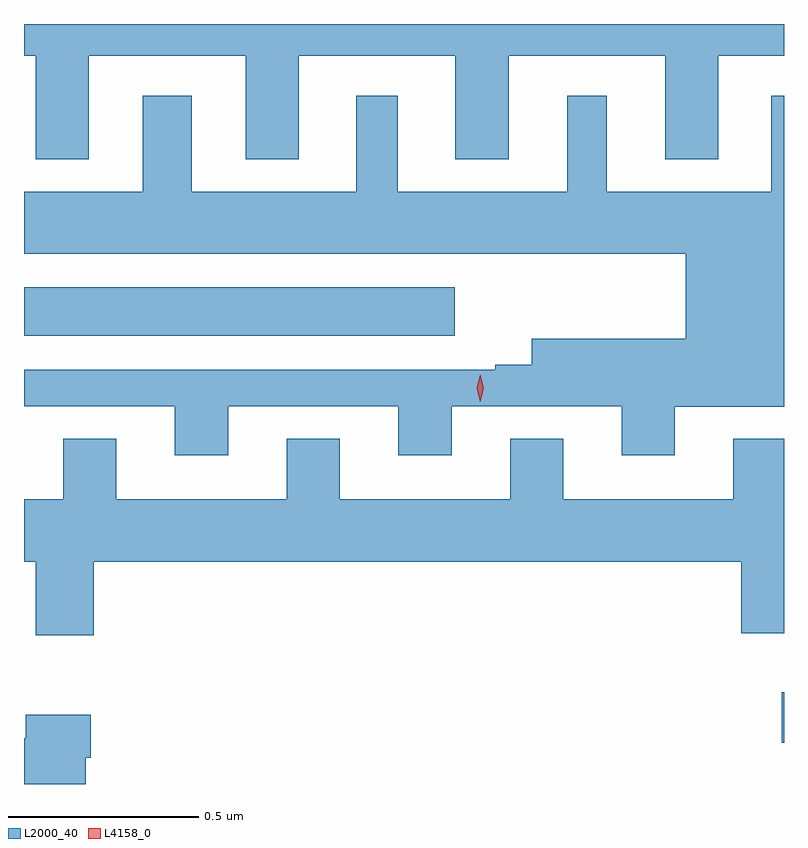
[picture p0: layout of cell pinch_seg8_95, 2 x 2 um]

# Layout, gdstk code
import gdstk
lib = gdstk.Library(unit=1e-6, precision=1e-09)
def R(c, l, rs):  # rectangles x0, y0, x1, y1
    for r in rs: c.add(gdstk.rectangle(r[:2], r[2:], *l))
def P(c, l, *ps):  # polygons
    for p in ps: c.add(gdstk.Polygon(p, *l))
L2000_40 = (2000, 40)
L4158_0 = (4158, 0)

pinch_seg8_95 = lib.new_cell('pinch_seg8_95')
R(pinch_seg8_95, L2000_40, [(1076.202,1101.371,1076.208,1101.505), (1074.208,1102.442,1075.342,1102.57)])
P(pinch_seg8_95, L2000_40, [(1074.379,1103.18),(1074.791,1103.18),(1074.791,1102.907),(1074.931,1102.907),(1074.931,1103.18),(1075.343,1103.18),(1075.343,1102.907),(1075.483,1102.907),(1075.483,1103.18),(1075.895,1103.18),(1075.895,1102.907),(1076.035,1102.907),(1076.035,1103.18),(1076.208,1103.18),(1076.208,1103.263),(1074.208,1103.263),(1074.208,1103.18),(1074.239,1103.18),(1074.239,1102.907),(1074.379,1102.907)],
  [(1074.745,1102.257),(1075.193,1102.257),(1075.193,1102.128),(1075.333,1102.128),(1075.333,1102.257),(1075.781,1102.257),(1075.781,1102.128),(1075.921,1102.128),(1075.921,1102.256),(1076.208,1102.256),(1076.208,1103.074),(1076.174,1103.074),(1076.174,1102.822),(1075.741,1102.822),(1075.741,1103.074),(1075.637,1103.074),(1075.637,1102.822),(1075.192,1102.822),(1075.192,1103.074),(1075.082,1103.074),(1075.082,1102.822),(1074.649,1102.822),(1074.649,1103.074),(1074.521,1103.074),(1074.521,1102.822),(1074.208,1102.822),(1074.208,1102.658),(1075.949,1102.658),(1075.949,1102.435),(1075.544,1102.435),(1075.544,1102.366),(1075.448,1102.366),(1075.448,1102.353),(1074.208,1102.353),(1074.208,1102.257),(1074.605,1102.257),(1074.605,1102.128),(1074.745,1102.128)],
  [(1074.392,1101.848),(1076.096,1101.848),(1076.096,1101.66),(1076.208,1101.66),(1076.208,1102.171),(1076.075,1102.171),(1076.075,1102.012),(1075.627,1102.012),(1075.627,1102.172),(1075.487,1102.172),(1075.487,1102.012),(1075.039,1102.012),(1075.039,1102.172),(1074.899,1102.172),(1074.899,1102.012),(1074.451,1102.012),(1074.451,1102.172),(1074.311,1102.172),(1074.311,1102.012),(1074.208,1102.012),(1074.208,1101.848),(1074.239,1101.848),(1074.239,1101.654),(1074.392,1101.654)],
  [(1074.37,1101.332),(1074.383,1101.332),(1074.383,1101.445),(1074.212,1101.445),(1074.212,1101.384),(1074.208,1101.384),(1074.208,1101.263),(1074.37,1101.263)])
P(pinch_seg8_95, L4158_0, [(1075.409,1102.269),(1075.409,1102.269),(1075.399,1102.304),(1075.408,1102.34),(1075.408,1102.34),(1075.408,1102.34),(1075.418,1102.304),(1075.409,1102.269)])

lib.write_gds('pinch_seg8_95.gds')
